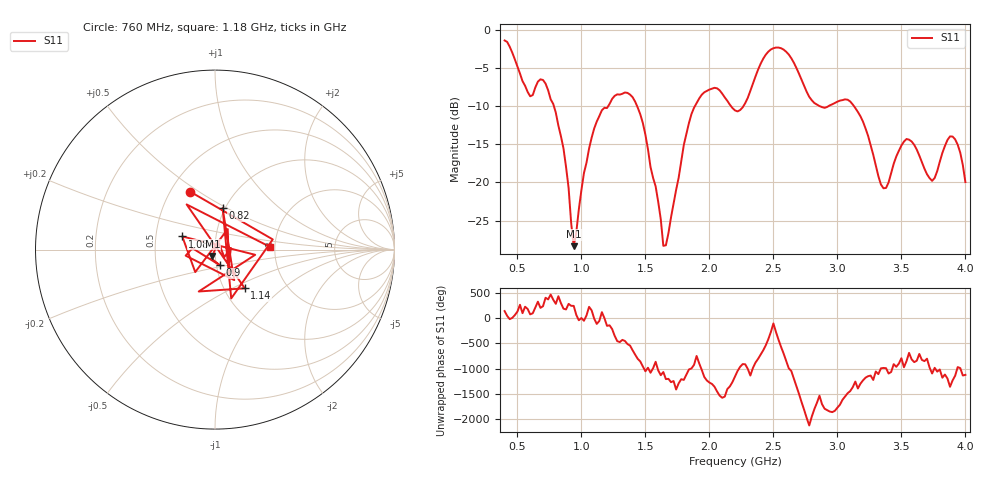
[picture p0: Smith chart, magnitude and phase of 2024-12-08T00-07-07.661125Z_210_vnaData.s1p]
!Created with skrf (http://scikit-rf.org).
# Hz S RI R 50.0
!freq ReS11 ImS11
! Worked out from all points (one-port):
!   181 points, 400 MHz to 4 GHz, reference 50 ohm
!   lowest |S11| = -28.4 dB at 940 MHz (marker M1), VSWR 1.08, Z = 48.4 - j3.41 ohm
!   |S11| at or under -10 dB: 785 MHz to 1.209 GHz (424.3 MHz wide, 42.5 % of centre); 1.435 GHz to 1.887 GHz (451.9 MHz wide, 27.2 % of centre); 3.129 GHz to end of sweep (the widest 3 of 5)
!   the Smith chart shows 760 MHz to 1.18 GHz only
!   S11 on the Smith chart (normalised r, x): 760 MHz: 0.63, +0.46; 820 MHz: 0.97, +0.48; 900 MHz: 1.04, -0.18; 1.08 GHz: 0.69, +0.10; 1.14 GHz: 1.25, -0.58; 1.18 GHz: 1.89, +0.06
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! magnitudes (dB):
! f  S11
! 400 MHz  -1.4
! 600 MHz  -8.7
! 680 MHz  -6.5
! 760 MHz  -9.1
! 820 MHz  -12.5
! 860 MHz  -15.5
! 900 MHz  -20.7
! 940 MHz  -28.4
! 1.08 GHz  -14.1
! 1.14 GHz  -11.3
! 1.18 GHz  -10.2
! 1.3 GHz  -8.5
! 1.48 GHz  -12.2
! 1.64 GHz  -28.3
! 1.76 GHz  -19.4
! 1.84 GHz  -12.2
! 1.94 GHz  -8.5
! 2.06 GHz  -7.7
! 2.2 GHz  -10.6
! 2.48 GHz  -2.6
! 2.66 GHz  -4.3
! 2.82 GHz  -9.6
! 3.1 GHz  -9.4
! 3.36 GHz  -20.8
! 3.56 GHz  -14.4
! 3.74 GHz  -19.8
! 3.9 GHz  -14.0
! 4 GHz  -20.0
